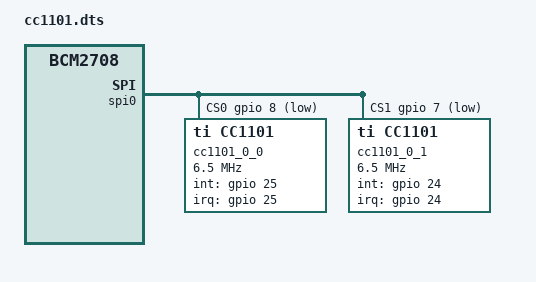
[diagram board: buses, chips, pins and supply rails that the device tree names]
/dts-v1/;
/plugin/;

/ {
    compatible = "brcm,bcm2708";

    fragment@0 {
        target = <&spidev0>;

        __overlay__ {
            status = "disabled";
        };
    };

    fragment@1 {
        target = <&spidev1>;

        __overlay__ {
            status = "disabled";
        };
    };

    fragment@2 {
        target = <&spi0>;

         __overlay__ {
            #address-cells = <1>;
            #size-cells = <0>;
            pinctrl-names = "default";
            pinctrl-0 = <&spi0_pins &spi0_cs_pins>;
            cs-gpios = <&gpio 8 1>, <&gpio 7 1>;

            cc1101_0_0: cc1101@0 {
                compatible = "ti,cc1101";
                spi-max-frequency = <6500000>;
                spi-cpol;
                spi-cpha;
                reg = <0>;
                pinctrl-0 = <&cc1101_0_0_int_pin>;
                int-gpios = <&gpio 25 0>;
                interrupts = <25 1>;
                interrupt-parent = <&gpio>;
            };

            cc1101_0_1: cc1101@1 {
                compatible = "ti,cc1101";
                spi-max-frequency = <6500000>;
                spi-cpol;
                spi-cpha;
                reg = <1>;
                pinctrl-0 = <&cc1101_0_1_int_pin>;
                int-gpios = <&gpio 24 0>;
                interrupts = <24 1>;
                interrupt-parent = <&gpio>;
            };
         };
    };

    fragment@3 {
        target = <&gpio>;

        __overlay__ {
            cc1101_0_0_int_pin: cc1101_0_0_int_pin {
                brcm,pins = <25>;
                brcm,function = <0>;
                prcm,pull = <0>;
            };

            cc1101_0_1_int_pin: cc1101_0_1_int_pin {
                brcm,pins = <24>;
                brcm,function = <0>;
                prcm,pull = <0>;
            };
        };
    };
};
